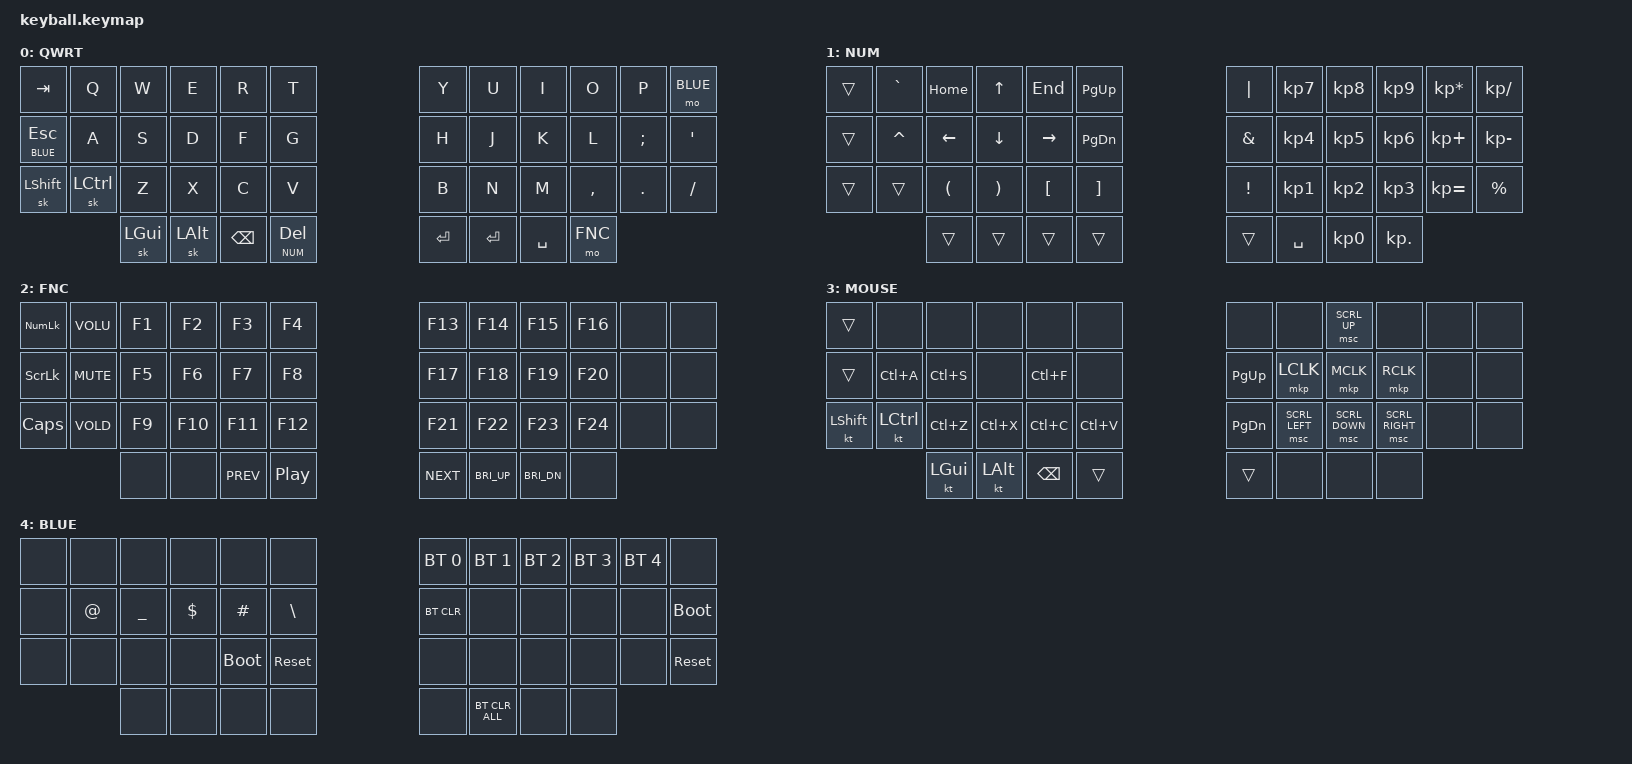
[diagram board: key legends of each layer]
#define DEFAULT 0
#define NUM     1
#define FNC     2
#define MOUSE   3
#define BLUE    4

#include <behaviors/mouse_keys.dtsi>
#include <dt-bindings/zmk/mouse.h>
#include <behaviors.dtsi>
#include <dt-bindings/zmk/bt.h>
#include <dt-bindings/zmk/keys.h>


&lt {
    quick-tap-ms = <250>;
};

// &sk {
//     release-after-ms = <5000>;
//     quick-release;
//     /delete-property/ ignore-modifiers;
// };

&caps_word { continue-list = <UNDERSCORE MINUS>; };

/ {
    // custom shift using mod-morph 

    behaviors {
        skq: sticky_key_quick_release {
            compatible = "zmk,behavior-sticky-key";
            #binding-cells = <1>;
            bindings = <&kp>;
            release-after-ms = <5000>;
            quick-release;
            ignore-modifiers;
        };
    };

    combos {
        compatible = "zmk,combos";

        default_bootloader_r {
            bindings = <&bootloader>;
            key-positions = <10 11>;
        };

        default_bootloader_l {
            bindings = <&bootloader>;
            key-positions = <0 1>;
        };
    };

    keymap {
        compatible = "zmk,keymap";

        default_layer {
            label = "QWRT";
// --------------------------------------------------------------------------------------------------------------------------------------------------------------------
// |   TAB   |    Q    |    W    |    E    |    R    |    T     |                              |    Y    |    U    |    I    |    O    |    P    |   BLUE  |
// |   ESC   |    A    |    S    |    D    |    F    |    G     |                              |    H    |    J    |    K    |    L    |    ;    |    '    |
// |  SHIFT  |   CTRL  |    Z    |    X    |    C    |    V     |                              |    B    |    N    |    M    |    ,    |    .    |    /    |  
//                     |   GUI   |   ALT   |   BSPC  |   DEL    | RETURN  |            |  TAB  |  SPACE  |                   |   FNC   |
            bindings = <
    &kp TAB      &kp Q     &kp W    &kp E     &kp R     &kp T                                      &kp Y     &kp U     &kp I     &kp O     &kp P     &mo BLUE
    &lt BLUE ESC &kp A     &kp S    &kp D     &kp F     &kp G                                      &kp H     &kp J     &kp K     &kp L     &kp SEMI  &kp SQT
    &sk LSHIFT   &sk LCTRL &kp Z    &kp X     &kp C     &kp V                                      &kp B     &kp N     &kp M     &kp COMMA &kp DOT   &kp FSLH
                           &sk LGUI &sk LALT  &kp BSPC  &lt NUM DEL &kp RET               &kp RET  &kp SPACE                     &mo FNC
            >;
        };

        number_layer {
            label = "NUM";
// --------------------------------------------------------------------------------------------------------------------------------------------------------------------
// |   TAB   |    `    |   HOME  |    UP   |   END   |   PGUP  |                              |    |    |    7    |    8    |    9    |    *    |    /    |
// |   ESC   |    ^    |   LEFT  |   DOWN  |  RIGHT  |   PGDN  |                              |    &    |    4    |    5    |    6    |    +    |    -    |
// |  SHIFT  |   CTRL  |   (     |     )   |    [    |     ]   |                              |    !    |    1    |    2    |    3    |    =    |    %    |  
//                     |   GUI   |   ALT   |   BSPC  |   DEL   | RETURN  |            | SPACE |    0    |                   |    .    |
            bindings = <
    &trans    &kp GRAVE  &kp HOME  &kp UP    &kp END   &kp PG_UP                               &kp PIPE  &kp KP_N7 &kp KP_N8 &kp KP_N9  &kp KP_MULTIPLY &kp KP_SLASH
    &trans    &kp CARET  &kp LEFT  &kp DOWN  &kp RIGHT &kp PG_DN                               &kp AMPS  &kp KP_N4 &kp KP_N5 &kp KP_N6  &kp KP_PLUS     &kp KP_MINUS
    &trans    &trans     &kp LPAR  &kp RPAR  &kp LBKT  &kp RBKT                                &kp EXCL  &kp KP_N1 &kp KP_N2 &kp KP_N3  &kp KP_EQUAL    &kp PRCNT
                         &trans    &trans    &trans    &trans     &trans             &kp SPACE &kp KP_N0                     &kp KP_DOT 
            >;

        };

        function_layer {
            label = "FNC";
// --------------------------------------------------------------------------------------------------------------------------------------------------------------------
// |  NLCK   |   VOLU  |   F1    |   F2    |   F3    |   F4    |                              |   F13   |   F14   |   F15   |   F16   |         |         |
// |  SLCK   |   MUTE  |   F5    |   F6    |   F7    |   F8    |                              |   F17   |   F18   |   F19   |   F20   |         |         |
// |  CAPS   |   VOLD  |   F9    |   F10   |   F11   |   F12   |                              |   F21   |   F22   |   F23   |   F24   |         |         |  
//                     |         |         |   PREV  |   PP    | NEXT  |              | BRIUP |  BRIDN  |                   |         |
            bindings = <
    &kp KP_NLCK &kp VOLU &kp F1    &kp F2    &kp F3    &kp F4                                  &kp F13   &kp F14   &kp F15   &kp F16   &none     &none
    &kp SLCK  &kp K_MUTE &kp F5    &kp F6    &kp F7    &kp F8                                  &kp F17   &kp F18   &kp F19   &kp F20   &none     &none
    &kp CLCK  &kp VOLD   &kp F9    &kp F10   &kp F11   &kp F12                                 &kp F21   &kp F22   &kp F23   &kp F24   &none     &none
                         &none     &none    &kp C_PREV &kp C_PP &kp C_NEXT         &kp C_BRI_UP &kp C_BRI_DN               &none
            >;

        };

        mouse_layer {
            label = "MOUSE";
// --------------------------------------------------------------------------------------------------------------------------------------------------------------------
// |   TAB   |         |         |         |         |         |                              |         |         | SCRL UP |         |         |         |
// |   ESC   |  SELALL |   SAVE  |         |   FIND  |         |                              |  PGUP   | LCLICK  | MCLICK  | RCLICK  |         |         |
// |  SHIFT  |   CTRL  |   UNDO  |   CUT   |   COPY  |  PASTE  |                              |  PGDN   | SCRL LT | SCRL DN | SCRL RT |         |         |
//                     |   GUI   |   ALT   |   BSPC  |   DEL   | RETURN  |            |       |         |                   |         |

            bindings = <
    &trans    &none     &none     &none     &none     &none                                   &none        &none          &msc SCRL_UP   &none           &none   &none
    &trans    &kp LC(A) &kp LC(S) &none     &kp LC(F) &none                                   &kp PG_UP    &mkp LCLK      &mkp MCLK      &mkp RCLK       &none      &none
    &kt LSHIFT &kt LCTRL &kp LC(Z) &kp LC(X) &kp LC(C) &kp LC(V)                               &kp PG_DN    &msc SCRL_LEFT &msc SCRL_DOWN &msc SCRL_RIGHT &none      &none
                         &kt LGUI  &kt LALT  &kp BSPC  &trans  &trans              &none  &none                                               &none
            >;
        };

        bluetooth_layer {
            label = "BLUE";
// --------------------------------------------------------------------------------------------------------------------------------------------------------------------
// |         |         |         |        |        |         |                              |   BT1   |   BT2   |   BT3   |   BT4   |   BT5   |         |
// |         |    @    |   _     |  $     |   #    |   \     |                              |         |         |         |         |         |  BOOT   |
// |         |         |         |        | BOOT   |  RST    |                              |         |         |         |         |         |  RST    |
//                     |         |        |        |         |        |             |       |         |                   |         |
            bindings = <
    &none    &none     &none     &none    &none     &none                                   &bt BT_SEL 0 &bt BT_SEL 1 &bt BT_SEL 2 &bt BT_SEL 3 &bt BT_SEL 4 &none
    &none    &kp AT_SIGN &kp UNDERSCORE &kp DOLLAR &kp HASH &kp BACKSLASH                   &bt BT_CLR        &none        &none        &none        &none        &bootloader
    &none    &none     &none   &none   &bootloader &sys_reset                               &none        &none        &none        &none        &none        &sys_reset
                       &none      &none    &none    &none     &none                 &bt BT_CLR_ALL        &none                        &none
            >;
        };

    };
};  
